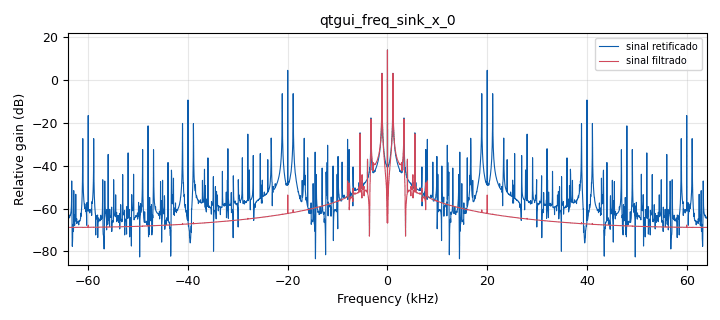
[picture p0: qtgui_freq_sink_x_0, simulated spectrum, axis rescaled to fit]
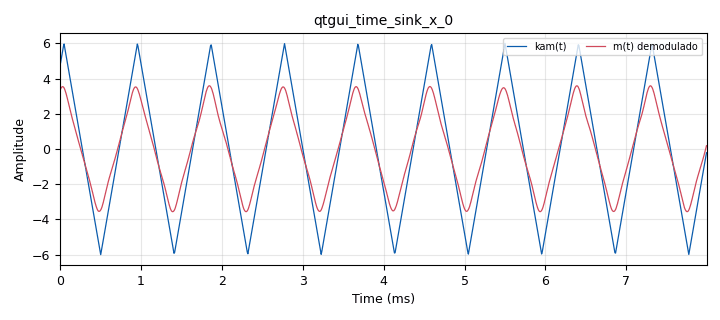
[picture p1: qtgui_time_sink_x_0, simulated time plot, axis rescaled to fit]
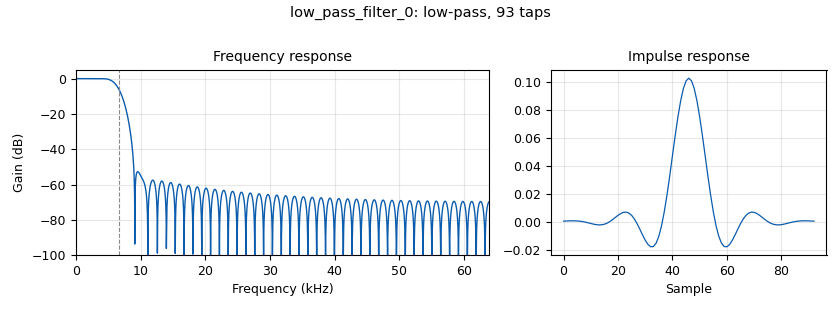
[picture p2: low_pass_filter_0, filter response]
<?xml version='1.0' encoding='utf-8'?>
<?grc format='1' created='3.7.9'?>
<flow_graph>
<block>
<key>options</key>
<param><key>id</key><value>top_block</value></param>
<param><key>category</key><value>Custom</value></param>
<param><key>generate_options</key><value>qt_gui</value></param>
</block>
<block>
<key>variable_qtgui_range</key>
<param><key>id</key><value>k_a</value></param>
<param><key>value</key><value>6</value></param>
<param><key>orient</key><value>Qt.Horizontal</value></param>
<param><key>start</key><value>0</value></param>
<param><key>step</key><value>1</value></param>
<param><key>stop</key><value>12</value></param>
</block>
<block>
<key>variable</key>
<param><key>id</key><value>samp_rate</value></param>
<param><key>value</key><value>128000</value></param>
</block>
<block>
<key>qtgui_tab_widget</key>
<param><key>id</key><value>aba</value></param>
<param><key>label0</key><value>kam(t) e m(t) demodulado</value></param>
<param><key>label1</key><value>espectro dos sinais retificado e filtrado</value></param>
<param><key>num_tabs</key><value>2</value></param>
</block>
<block>
<key>analog_sig_source_x</key>
<param><key>id</key><value>analog_sig_source_x_0</value></param>
<param><key>amp</key><value>2</value></param>
<param><key>freq</key><value>1100</value></param>
<param><key>offset</key><value>-1</value></param>
<param><key>type</key><value>float</value></param>
<param><key>samp_rate</key><value>samp_rate</value></param>
<param><key>waveform</key><value>analog.GR_TRI_WAVE</value></param>
</block>
<block>
<key>analog_sig_source_x</key>
<param><key>id</key><value>analog_sig_source_x_0_1</value></param>
<param><key>amp</key><value>1</value></param>
<param><key>freq</key><value>10000</value></param>
<param><key>offset</key><value>0</value></param>
<param><key>type</key><value>float</value></param>
<param><key>samp_rate</key><value>samp_rate</value></param>
<param><key>waveform</key><value>analog.GR_COS_WAVE</value></param>
</block>
<block>
<key>blocks_abs_xx</key>
<param><key>id</key><value>blocks_abs_xx_0</value></param>
<param><key>type</key><value>float</value></param>
</block>
<block>
<key>blocks_add_const_vxx</key>
<param><key>id</key><value>blocks_add_const_vxx_0</value></param>
<param><key>const</key><value>8</value></param>
<param><key>type</key><value>float</value></param>
</block>
<block>
<key>blocks_multiply_const_vxx</key>
<param><key>id</key><value>blocks_multiply_const_vxx_0</value></param>
<param><key>const</key><value>k_a</value></param>
<param><key>type</key><value>float</value></param>
</block>
<block>
<key>blocks_multiply_xx</key>
<param><key>id</key><value>blocks_multiply_xx_0</value></param>
<param><key>type</key><value>float</value></param>
</block>
<block>
<key>blocks_throttle</key>
<param><key>id</key><value>blocks_throttle_0</value></param>
<param><key>samples_per_second</key><value>samp_rate</value></param>
<param><key>type</key><value>float</value></param>
</block>
<block>
<key>blocks_throttle</key>
<param><key>id</key><value>blocks_throttle_0_0</value></param>
<param><key>samples_per_second</key><value>samp_rate</value></param>
<param><key>type</key><value>float</value></param>
</block>
<block>
<key>dc_blocker_xx</key>
<param><key>id</key><value>dc_blocker_xx_0</value></param>
<param><key>length</key><value>1024</value></param>
<param><key>long_form</key><value>True</value></param>
<param><key>type</key><value>ff</value></param>
</block>
<block>
<key>low_pass_filter</key>
<param><key>id</key><value>low_pass_filter_0</value></param>
<param><key>cutoff_freq</key><value>6600</value></param>
<param><key>decim</key><value>1</value></param>
<param><key>type</key><value>fir_filter_fff</value></param>
<param><key>gain</key><value>1</value></param>
<param><key>samp_rate</key><value>samp_rate</value></param>
<param><key>width</key><value>3300</value></param>
<param><key>win</key><value>firdes.WIN_HAMMING</value></param>
</block>
<block>
<key>qtgui_freq_sink_x</key>
<param><key>id</key><value>qtgui_freq_sink_x_0</value></param>
<param><key>bw</key><value>samp_rate</value></param>
<param><key>fc</key><value>0</value></param>
<param><key>ctrlpanel</key><value>True</value></param>
<param><key>fftsize</key><value>4096</value></param>
<param><key>gui_hint</key><value>aba@1</value></param>
<param><key>grid</key><value>True</value></param>
<param><key>label1</key><value>sinal retificado</value></param>
<param><key>label2</key><value>sinal filtrado</value></param>
<param><key>nconnections</key><value>2</value></param>
<param><key>showports</key><value>True</value></param>
<param><key>type</key><value>float</value></param>
<param><key>wintype</key><value>firdes.WIN_RECTANGULAR</value></param>
</block>
<block>
<key>qtgui_time_sink_x</key>
<param><key>id</key><value>qtgui_time_sink_x_0</value></param>
<param><key>ctrlpanel</key><value>True</value></param>
<param><key>gui_hint</key><value>aba@0</value></param>
<param><key>grid</key><value>True</value></param>
<param><key>color1</key><value>"blue"</value></param>
<param><key>label1</key><value>kam(t)</value></param>
<param><key>color2</key><value>"red"</value></param>
<param><key>label2</key><value>m(t) demodulado</value></param>
<param><key>nconnections</key><value>2</value></param>
<param><key>size</key><value>1024</value></param>
<param><key>srate</key><value>samp_rate</value></param>
<param><key>type</key><value>float</value></param>
</block>
<connection><source_block_id>analog_sig_source_x_0</source_block_id><sink_block_id>blocks_multiply_const_vxx_0</sink_block_id><source_key>0</source_key><sink_key>0</sink_key></connection>
<connection><source_block_id>analog_sig_source_x_0_1</source_block_id><sink_block_id>blocks_multiply_xx_0</sink_block_id><source_key>0</source_key><sink_key>1</sink_key></connection>
<connection><source_block_id>blocks_abs_xx_0</source_block_id><sink_block_id>low_pass_filter_0</sink_block_id><source_key>0</source_key><sink_key>0</sink_key></connection>
<connection><source_block_id>blocks_abs_xx_0</source_block_id><sink_block_id>qtgui_freq_sink_x_0</sink_block_id><source_key>0</source_key><sink_key>0</sink_key></connection>
<connection><source_block_id>blocks_add_const_vxx_0</source_block_id><sink_block_id>blocks_multiply_xx_0</sink_block_id><source_key>0</source_key><sink_key>0</sink_key></connection>
<connection><source_block_id>blocks_multiply_const_vxx_0</source_block_id><sink_block_id>blocks_add_const_vxx_0</sink_block_id><source_key>0</source_key><sink_key>0</sink_key></connection>
<connection><source_block_id>blocks_multiply_const_vxx_0</source_block_id><sink_block_id>blocks_throttle_0_0</sink_block_id><source_key>0</source_key><sink_key>0</sink_key></connection>
<connection><source_block_id>blocks_multiply_xx_0</source_block_id><sink_block_id>blocks_abs_xx_0</sink_block_id><source_key>0</source_key><sink_key>0</sink_key></connection>
<connection><source_block_id>blocks_throttle_0</source_block_id><sink_block_id>qtgui_time_sink_x_0</sink_block_id><source_key>0</source_key><sink_key>1</sink_key></connection>
<connection><source_block_id>blocks_throttle_0_0</source_block_id><sink_block_id>qtgui_time_sink_x_0</sink_block_id><source_key>0</source_key><sink_key>0</sink_key></connection>
<connection><source_block_id>dc_blocker_xx_0</source_block_id><sink_block_id>blocks_throttle_0</sink_block_id><source_key>0</source_key><sink_key>0</sink_key></connection>
<connection><source_block_id>low_pass_filter_0</source_block_id><sink_block_id>dc_blocker_xx_0</sink_block_id><source_key>0</source_key><sink_key>0</sink_key></connection>
<connection><source_block_id>low_pass_filter_0</source_block_id><sink_block_id>qtgui_freq_sink_x_0</sink_block_id><source_key>0</source_key><sink_key>1</sink_key></connection>
</flow_graph>
